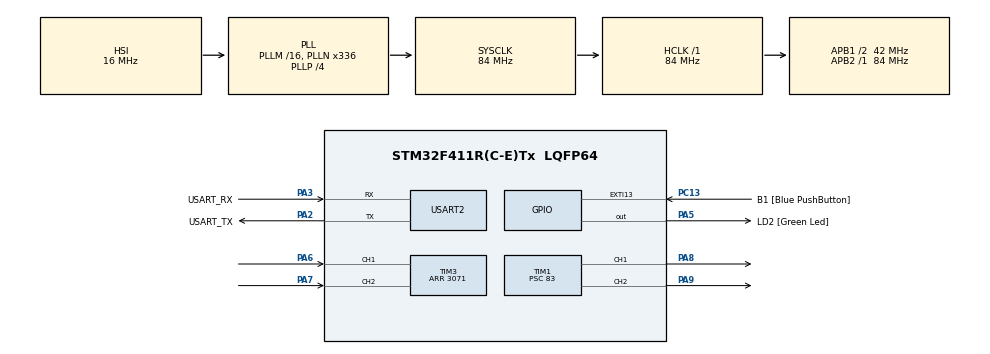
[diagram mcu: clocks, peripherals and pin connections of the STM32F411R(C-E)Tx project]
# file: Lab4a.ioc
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Mcu.Family=STM32F4
Mcu.Name=STM32F411R(C-E)Tx
Mcu.Package=LQFP64
NVIC.PriorityGroup=NVIC_PRIORITYGROUP_0
PA13.GPIO_Label=TMS
PA13.Mode=Trace_Asynchronous_SW
PA13.Signal=SYS_JTMS-SWDIO
PA14.GPIO_Label=TCK
PA14.Mode=Trace_Asynchronous_SW
PA14.Signal=SYS_JTCK-SWCLK
PA2.GPIO_Label=USART_TX
PA2.Mode=Asynchronous
PA2.Signal=USART2_TX
PA3.GPIO_Label=USART_RX
PA3.Mode=Asynchronous
PA3.Signal=USART2_RX
PA5.GPIO_Label=LD2 [Green Led]
PA5.Signal=GPIO_Output
PA6.Signal=S_TIM3_CH1
PA7.Signal=S_TIM3_CH2
PA8.Signal=S_TIM1_CH1
PA9.Signal=S_TIM1_CH2
PB3.GPIO_Label=SWO
PB3.Mode=Trace_Asynchronous_SW
PB3.Signal=SYS_JTDO-SWO
PC13-ANTI_TAMP.GPIO_Label=B1 [Blue PushButton]
PC13-ANTI_TAMP.GPIO_ModeDefaultEXTI=GPIO_MODE_IT_FALLING
PC13-ANTI_TAMP.Signal=GPXTI13
PC14-OSC32_IN.Mode=LSE-External-Oscillator
PC14-OSC32_IN.Signal=RCC_OSC32_IN
PC15-OSC32_OUT.Mode=LSE-External-Oscillator
PC15-OSC32_OUT.Signal=RCC_OSC32_OUT
PH0\ -\ OSC_IN.Mode=HSE-External-Clock-Source
PH0\ -\ OSC_IN.Signal=RCC_OSC_IN
PH1\ -\ OSC_OUT.Mode=HSE-External-Clock-Source
PH1\ -\ OSC_OUT.Signal=RCC_OSC_OUT
ProjectManager.HeapSize=0x200
ProjectManager.StackSize=0x400
ProjectManager.TargetToolchain=STM32CubeIDE
RCC.48MHZClocksFreq_Value=84000000
RCC.AHBFreq_Value=84000000
RCC.APB1CLKDivider=RCC_HCLK_DIV2
RCC.APB1Freq_Value=42000000
RCC.APB1TimFreq_Value=84000000
RCC.APB2Freq_Value=84000000
RCC.APB2TimFreq_Value=84000000
RCC.CortexFreq_Value=84000000
RCC.FLatency-AdvancedSettings=FLASH_LATENCY_2
RCC.HCLKFreq_Value=84000000
RCC.HSE_VALUE=8000000
RCC.HSI_VALUE=16000000
RCC.PLLN=336
RCC.PLLP=RCC_PLLP_DIV4
RCC.SYSCLKFreq_VALUE=84000000
RCC.SYSCLKSource=RCC_SYSCLKSOURCE_PLLCLK
RCC.VCOOutputFreq_Value=336000000
SH.S_TIM1_CH1.0=TIM1_CH1,PWM Generation1 CH1
SH.S_TIM1_CH2.0=TIM1_CH2,PWM Generation2 CH2
SH.S_TIM3_CH1.0=TIM3_CH1,Encoder_Interface
SH.S_TIM3_CH2.0=TIM3_CH2,Encoder_Interface
TIM1.Channel-PWM\ Generation1\ CH1=TIM_CHANNEL_1
TIM1.Channel-PWM\ Generation2\ CH2=TIM_CHANNEL_2
TIM1.Period=1000
TIM1.Prescaler=83
TIM1.Pulse-PWM\ Generation1\ CH1=500
TIM3.EncoderMode=TIM_ENCODERMODE_TI12
TIM3.Period=3071
USART2.VirtualMode=VM_ASYNC
VP_TIM1_VS_ClockSourceINT.Mode=Internal
board=NUCLEO-F411RE

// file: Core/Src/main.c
/* USER CODE BEGIN Header */
/**
  ******************************************************************************
  * @file           : main.c
  * @brief          : Main program body
  ******************************************************************************
  * @attention
  *
  * Copyright (c) 2023 STMicroelectronics.
  * All rights reserved.
  *
  * This software is licensed under terms that can be found in the LICENSE file
  * in the root directory of this software component.
  * If no LICENSE file comes with this software, it is provided AS-IS.
  *
  ******************************************************************************
  */
/* USER CODE END Header */
#include "main.h"

/* USER CODE BEGIN Includes */
#include "arm_math.h"
/* USER CODE END Includes */

/* USER CODE BEGIN PD */
#define PID_Kp        40            /* Proportional */
#define PID_Ki        0.025        /* Integral */
#define PID_Kd        10            /* Derivative */
/* USER CODE END PD */

TIM_HandleTypeDef htim1;
TIM_HandleTypeDef htim3;

UART_HandleTypeDef huart2;

/* USER CODE BEGIN PV */
int dir = 1;
float u = 0;
float duty = 0;
int L = 0;
uint32_t QEIPulse;
uint32_t SetAngle = 0;
int SetPulse = 0;
int DiffPulse = 0;
int UnwrapPulse = 0;

arm_pid_instance_f32 PID={0};

/* USER CODE END PV */

void SystemClock_Config(void);
static void MX_GPIO_Init(void);
static void MX_USART2_UART_Init(void);
static void MX_TIM1_Init(void);
static void MX_TIM3_Init(void);

int main(void)
{

  /* MCU Configuration--------------------------------------------------------*/

  /* Reset of all peripherals, Initializes the Flash interface and the Systick. */
  HAL_Init();

  /* Configure the system clock */
  SystemClock_Config();

  /* Initialize all configured peripherals */
  MX_GPIO_Init();
  MX_USART2_UART_Init();
  MX_TIM1_Init();
  MX_TIM3_Init();
  /* USER CODE BEGIN 2 */

  HAL_TIM_Base_Start(&htim1);
  HAL_TIM_PWM_Start(&htim1, TIM_CHANNEL_1);
  HAL_TIM_PWM_Start(&htim1, TIM_CHANNEL_2);

  HAL_TIM_Encoder_Start(&htim3, TIM_CHANNEL_1|TIM_CHANNEL_2);

  PID.Kp = PID_Kp;        /* Proportional */
  PID.Ki = PID_Ki;        /* Integral */
  PID.Kd = PID_Kd;        /* Derivative */

  arm_pid_init_f32(&PID, 0);
  /* USER CODE END 2 */

  /* Infinite loop */
  while (1)
  {

    /* USER CODE BEGIN 3 */
//	  __HAL_TIM_SET_COMPARE(&htim1, TIM_CHANNEL_2, 0);
//	  __HAL_TIM_SET_COMPARE(&htim1, TIM_CHANNEL_1, 500);
//	  HAL_Delay(1000);
//	  __HAL_TIM_SET_COMPARE(&htim1, TIM_CHANNEL_1, 0);
//	  __HAL_TIM_SET_COMPARE(&htim1, TIM_CHANNEL_2, 500);
//	  HAL_Delay(1000);
	  static uint32_t timestamp = 0;
  	  QEIPulse = __HAL_TIM_GET_COUNTER(&htim3);
	  if(QEIPulse==0&&L==3071){
		  DiffPulse+=1;
	  }
	  if(QEIPulse==3071&&L==0){
		  DiffPulse-=1;
	  }
	  SetPulse = SetAngle/0.1171875;
	  UnwrapPulse = QEIPulse+(DiffPulse*3072);
	  L = QEIPulse;
	  if(HAL_GetTick()>timestamp){
		  timestamp = HAL_GetTick()+10;

		  u = arm_pid_f32(&PID, SetPulse-UnwrapPulse);

		  if(u<0){
			  dir = -1;
		  }

		  duty = fabs(u);
		  if (duty > 1000) {
			  duty = 1000;
		  }

		  if(dir==-1){
			  __HAL_TIM_SET_COMPARE(&htim1, TIM_CHANNEL_2, 0);
			  __HAL_TIM_SET_COMPARE(&htim1, TIM_CHANNEL_1, duty);
		  }
		  if(dir==1){
			  __HAL_TIM_SET_COMPARE(&htim1, TIM_CHANNEL_2, duty);
			  __HAL_TIM_SET_COMPARE(&htim1, TIM_CHANNEL_1, 0);
		  }
	  }

  }
  /* USER CODE END 3 */
}

void SystemClock_Config(void)
{
  RCC_OscInitTypeDef RCC_OscInitStruct = {0};
  RCC_ClkInitTypeDef RCC_ClkInitStruct = {0};

  /** Configure the main internal regulator output voltage
  */
  __HAL_RCC_PWR_CLK_ENABLE();
  __HAL_PWR_VOLTAGESCALING_CONFIG(PWR_REGULATOR_VOLTAGE_SCALE1);

  /** Initializes the RCC Oscillators according to the specified parameters
  * in the RCC_OscInitTypeDef structure.
  */
  RCC_OscInitStruct.OscillatorType = RCC_OSCILLATORTYPE_HSI;
  RCC_OscInitStruct.HSIState = RCC_HSI_ON;
  RCC_OscInitStruct.HSICalibrationValue = RCC_HSICALIBRATION_DEFAULT;
  RCC_OscInitStruct.PLL.PLLState = RCC_PLL_ON;
  RCC_OscInitStruct.PLL.PLLSource = RCC_PLLSOURCE_HSI;
  RCC_OscInitStruct.PLL.PLLM = 16;
  RCC_OscInitStruct.PLL.PLLN = 336;
  RCC_OscInitStruct.PLL.PLLP = RCC_PLLP_DIV4;
  RCC_OscInitStruct.PLL.PLLQ = 4;
  if (HAL_RCC_OscConfig(&RCC_OscInitStruct) != HAL_OK)
  {
    Error_Handler();
  }

  /** Initializes the CPU, AHB and APB buses clocks
  */
  RCC_ClkInitStruct.ClockType = RCC_CLOCKTYPE_HCLK|RCC_CLOCKTYPE_SYSCLK
                              |RCC_CLOCKTYPE_PCLK1|RCC_CLOCKTYPE_PCLK2;
  RCC_ClkInitStruct.SYSCLKSource = RCC_SYSCLKSOURCE_PLLCLK;
  RCC_ClkInitStruct.AHBCLKDivider = RCC_SYSCLK_DIV1;
  RCC_ClkInitStruct.APB1CLKDivider = RCC_HCLK_DIV2;
  RCC_ClkInitStruct.APB2CLKDivider = RCC_HCLK_DIV1;

  if (HAL_RCC_ClockConfig(&RCC_ClkInitStruct, FLASH_LATENCY_2) != HAL_OK)
  {
    Error_Handler();
  }
}

static void MX_TIM1_Init(void)
{

  TIM_ClockConfigTypeDef sClockSourceConfig = {0};
  TIM_MasterConfigTypeDef sMasterConfig = {0};
  TIM_OC_InitTypeDef sConfigOC = {0};
  TIM_BreakDeadTimeConfigTypeDef sBreakDeadTimeConfig = {0};

  htim1.Instance = TIM1;
  htim1.Init.Prescaler = 83;
  htim1.Init.CounterMode = TIM_COUNTERMODE_UP;
  htim1.Init.Period = 1000;
  htim1.Init.ClockDivision = TIM_CLOCKDIVISION_DIV1;
  htim1.Init.RepetitionCounter = 0;
  htim1.Init.AutoReloadPreload = TIM_AUTORELOAD_PRELOAD_DISABLE;
  if (HAL_TIM_Base_Init(&htim1) != HAL_OK)
  {
    Error_Handler();
  }
  sClockSourceConfig.ClockSource = TIM_CLOCKSOURCE_INTERNAL;
  if (HAL_TIM_ConfigClockSource(&htim1, &sClockSourceConfig) != HAL_OK)
  {
    Error_Handler();
  }
  if (HAL_TIM_PWM_Init(&htim1) != HAL_OK)
  {
    Error_Handler();
  }
  sMasterConfig.MasterOutputTrigger = TIM_TRGO_RESET;
  sMasterConfig.MasterSlaveMode = TIM_MASTERSLAVEMODE_DISABLE;
  if (HAL_TIMEx_MasterConfigSynchronization(&htim1, &sMasterConfig) != HAL_OK)
  {
    Error_Handler();
  }
  sConfigOC.OCMode = TIM_OCMODE_PWM1;
  sConfigOC.Pulse = 500;
  sConfigOC.OCPolarity = TIM_OCPOLARITY_HIGH;
  sConfigOC.OCNPolarity = TIM_OCNPOLARITY_HIGH;
  sConfigOC.OCFastMode = TIM_OCFAST_DISABLE;
  sConfigOC.OCIdleState = TIM_OCIDLESTATE_RESET;
  sConfigOC.OCNIdleState = TIM_OCNIDLESTATE_RESET;
  if (HAL_TIM_PWM_ConfigChannel(&htim1, &sConfigOC, TIM_CHANNEL_1) != HAL_OK)
  {
    Error_Handler();
  }
  sConfigOC.Pulse = 0;
  if (HAL_TIM_PWM_ConfigChannel(&htim1, &sConfigOC, TIM_CHANNEL_2) != HAL_OK)
  {
    Error_Handler();
  }
  sBreakDeadTimeConfig.OffStateRunMode = TIM_OSSR_DISABLE;
  sBreakDeadTimeConfig.OffStateIDLEMode = TIM_OSSI_DISABLE;
  sBreakDeadTimeConfig.LockLevel = TIM_LOCKLEVEL_OFF;
  sBreakDeadTimeConfig.DeadTime = 0;
  sBreakDeadTimeConfig.BreakState = TIM_BREAK_DISABLE;
  sBreakDeadTimeConfig.BreakPolarity = TIM_BREAKPOLARITY_HIGH;
  sBreakDeadTimeConfig.AutomaticOutput = TIM_AUTOMATICOUTPUT_DISABLE;
  if (HAL_TIMEx_ConfigBreakDeadTime(&htim1, &sBreakDeadTimeConfig) != HAL_OK)
  {
    Error_Handler();
  }
  HAL_TIM_MspPostInit(&htim1);

}

static void MX_TIM3_Init(void)
{

  TIM_Encoder_InitTypeDef sConfig = {0};
  TIM_MasterConfigTypeDef sMasterConfig = {0};

  htim3.Instance = TIM3;
  htim3.Init.Prescaler = 0;
  htim3.Init.CounterMode = TIM_COUNTERMODE_UP;
  htim3.Init.Period = 3071;
  htim3.Init.ClockDivision = TIM_CLOCKDIVISION_DIV1;
  htim3.Init.AutoReloadPreload = TIM_AUTORELOAD_PRELOAD_DISABLE;
  sConfig.EncoderMode = TIM_ENCODERMODE_TI12;
  sConfig.IC1Polarity = TIM_ICPOLARITY_RISING;
  sConfig.IC1Selection = TIM_ICSELECTION_DIRECTTI;
  sConfig.IC1Prescaler = TIM_ICPSC_DIV1;
  sConfig.IC1Filter = 0;
  sConfig.IC2Polarity = TIM_ICPOLARITY_RISING;
  sConfig.IC2Selection = TIM_ICSELECTION_DIRECTTI;
  sConfig.IC2Prescaler = TIM_ICPSC_DIV1;
  sConfig.IC2Filter = 0;
  if (HAL_TIM_Encoder_Init(&htim3, &sConfig) != HAL_OK)
  {
    Error_Handler();
  }
  sMasterConfig.MasterOutputTrigger = TIM_TRGO_RESET;
  sMasterConfig.MasterSlaveMode = TIM_MASTERSLAVEMODE_DISABLE;
  if (HAL_TIMEx_MasterConfigSynchronization(&htim3, &sMasterConfig) != HAL_OK)
  {
    Error_Handler();
  }

}

static void MX_USART2_UART_Init(void)
{

  huart2.Instance = USART2;
  huart2.Init.BaudRate = 115200;
  huart2.Init.WordLength = UART_WORDLENGTH_8B;
  huart2.Init.StopBits = UART_STOPBITS_1;
  huart2.Init.Parity = UART_PARITY_NONE;
  huart2.Init.Mode = UART_MODE_TX_RX;
  huart2.Init.HwFlowCtl = UART_HWCONTROL_NONE;
  huart2.Init.OverSampling = UART_OVERSAMPLING_16;
  if (HAL_UART_Init(&huart2) != HAL_OK)
  {
    Error_Handler();
  }

}

static void MX_GPIO_Init(void)
{
  GPIO_InitTypeDef GPIO_InitStruct = {0};

  /* GPIO Ports Clock Enable */
  __HAL_RCC_GPIOC_CLK_ENABLE();
  __HAL_RCC_GPIOH_CLK_ENABLE();
  __HAL_RCC_GPIOA_CLK_ENABLE();
  __HAL_RCC_GPIOB_CLK_ENABLE();

  /*Configure GPIO pin Output Level */
  HAL_GPIO_WritePin(LD2_GPIO_Port, LD2_Pin, GPIO_PIN_RESET);

  /*Configure GPIO pin : B1_Pin */
  GPIO_InitStruct.Pin = B1_Pin;
  GPIO_InitStruct.Mode = GPIO_MODE_IT_FALLING;
  GPIO_InitStruct.Pull = GPIO_NOPULL;
  HAL_GPIO_Init(B1_GPIO_Port, &GPIO_InitStruct);

  /*Configure GPIO pin : LD2_Pin */
  GPIO_InitStruct.Pin = LD2_Pin;
  GPIO_InitStruct.Mode = GPIO_MODE_OUTPUT_PP;
  GPIO_InitStruct.Pull = GPIO_NOPULL;
  GPIO_InitStruct.Speed = GPIO_SPEED_FREQ_LOW;
  HAL_GPIO_Init(LD2_GPIO_Port, &GPIO_InitStruct);

}

void Error_Handler(void)
{
  __disable_irq();
  while (1)
  {
  }
}
